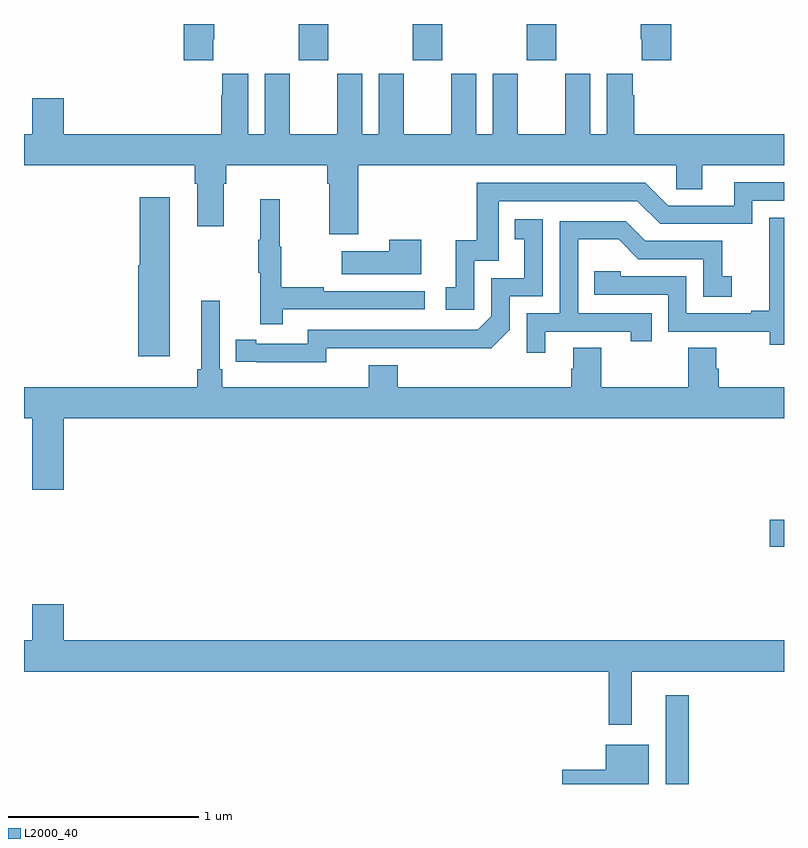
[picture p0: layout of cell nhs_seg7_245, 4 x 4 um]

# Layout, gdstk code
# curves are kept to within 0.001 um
import gdstk
lib = gdstk.Library(unit=1e-6, precision=1e-09)
def R(c, l, rs):  # rectangles x0, y0, x1, y1
    for r in rs: c.add(gdstk.rectangle(r[:2], r[2:], *l))
def A(c, l, x, y, w, h, nx, ny, dx, dy):  # array of equal rectangles
    R(c, l, [(x+i*dx, y+j*dy, x+i*dx+w, y+j*dy+h) for i in range(nx) for j in range(ny)])
def P(c, l, *ps):  # polygons
    for p in ps: c.add(gdstk.Polygon(p, *l))
L2000_40 = (2000, 40)

nhs_seg7_245 = lib.new_cell('nhs_seg7_245')
A(nhs_seg7_245, L2000_40, 130.447, 1027.809, 0.155, 0.191, 3, 1, 0.6, 0)
R(nhs_seg7_245, L2000_40, [(132.377,1024,132.499,1024.468), (132.924,1025.248,133,1025.39)])
P(nhs_seg7_245, L2000_40, [(132.407,1028),(132.247,1028),(132.247,1027.921),(132.251,1027.921),(132.251,1027.809),(132.407,1027.809)],
  [(129.997,1027.921),(130.002,1027.921),(130.002,1028),(129.842,1028),(129.842,1027.809),(129.997,1027.809)],
  [(130.76,1027.256),(132.432,1027.256),(132.432,1027.129),(132.571,1027.129),(132.571,1027.256),(133,1027.256),(133,1027.42),(132.212,1027.42),(132.212,1027.625),(132.205,1027.625),(132.205,1027.738),(132.068,1027.738),(132.068,1027.42),(131.98,1027.42),(131.98,1027.738),(131.849,1027.738),(131.849,1027.42),(131.599,1027.42),(131.599,1027.738),(131.468,1027.738),(131.468,1027.42),(131.38,1027.42),(131.38,1027.738),(131.249,1027.738),(131.249,1027.42),(130.999,1027.42),(130.999,1027.738),(130.868,1027.738),(130.868,1027.42),(130.78,1027.42),(130.78,1027.738),(130.649,1027.738),(130.649,1027.42),(130.399,1027.42),(130.399,1027.738),(130.268,1027.738),(130.268,1027.42),(130.18,1027.42),(130.18,1027.738),(130.043,1027.738),(130.043,1027.625),(130.037,1027.625),(130.037,1027.42),(129.208,1027.42),(129.208,1027.609),(129.044,1027.609),(129.044,1027.42),(129,1027.42),(129,1027.256),(129.899,1027.256),(129.899,1027.16),(129.911,1027.16),(129.911,1026.936),(130.051,1026.936),(130.051,1027.16),(130.064,1027.16),(130.064,1027.256),(130.595,1027.256),(130.595,1027.16),(130.607,1027.16),(130.607,1026.894),(130.76,1026.894)],
  [(131.37,1026.753),(131.499,1026.753),(131.499,1027.068),(132.228,1027.068),(132.348,1026.948),(132.834,1026.948),(132.834,1027.071),(133,1027.071),(133,1027.167),(132.737,1027.167),(132.737,1027.044),(132.39,1027.044),(132.27,1027.164),(131.383,1027.164),(131.383,1026.862),(131.273,1026.862),(131.273,1026.615),(131.22,1026.615),(131.22,1026.495),(131.37,1026.495)],
  [(129.766,1027.087),(129.608,1027.087),(129.608,1026.729),(129.602,1026.729),(129.602,1026.252),(129.766,1026.252)],
  [(130.361,1026.498),(131.11,1026.498),(131.11,1026.594),(130.577,1026.594),(130.577,1026.614),(130.354,1026.614),(130.354,1026.828),(130.346,1026.828),(130.346,1027.078),(130.244,1027.078),(130.244,1026.865),(130.233,1026.865),(130.233,1026.691),(130.244,1026.691),(130.244,1026.42),(130.361,1026.42)],
  [(133,1026.979),(132.922,1026.979),(132.922,1026.773),(132.923,1026.773),(132.923,1026.49),(132.827,1026.49),(132.827,1026.477),(132.486,1026.477),(132.486,1026.672),(132.141,1026.672),(132.141,1026.699),(132.001,1026.699),(132.001,1026.576),(132.39,1026.576),(132.39,1026.381),(132.924,1026.381),(132.924,1026.313),(133,1026.313)],
  [(130.59,1026.294),(131.458,1026.293),(131.556,1026.39),(131.556,1026.567),(131.73,1026.567),(131.73,1026.973),(131.584,1026.973),(131.584,1026.867),(131.633,1026.867),(131.633,1026.663),(131.46,1026.663),(131.46,1026.462),(131.388,1026.39),(130.494,1026.39),(130.494,1026.318),(130.222,1026.318),(130.222,1026.338),(130.114,1026.338),(130.114,1026.222),(130.59,1026.221)],
  [(131.743,1026.381),(132.194,1026.381),(132.194,1026.33),(132.305,1026.33),(132.305,1026.477),(131.916,1026.477),(131.916,1026.866),(132.13,1026.866),(132.234,1026.762),(132.576,1026.762),(132.576,1026.564),(132.724,1026.564),(132.724,1026.673),(132.675,1026.673),(132.675,1026.858),(132.271,1026.858),(132.166,1026.963),(131.82,1026.963),(131.82,1026.477),(131.646,1026.477),(131.646,1026.27),(131.743,1026.27)],
  [(131.092,1026.865),(130.922,1026.865),(130.922,1026.805),(130.673,1026.805),(130.673,1026.683),(131.092,1026.683)],
  [(129.208,1025.924),(133,1025.924),(133,1026.088),(132.656,1026.088),(132.656,1026.186),(132.643,1026.186),(132.643,1026.296),(132.496,1026.296),(132.496,1026.088),(132.039,1026.088),(132.039,1026.296),(131.891,1026.296),(131.891,1026.186),(131.879,1026.186),(131.879,1026.088),(130.967,1026.088),(130.967,1026.205),(130.814,1026.205),(130.814,1026.088),(130.043,1026.088),(130.043,1026.184),(130.029,1026.184),(130.029,1026.544),(129.932,1026.544),(129.932,1026.184),(129.913,1026.184),(129.913,1026.088),(129,1026.088),(129,1025.924),(129.044,1025.924),(129.044,1025.55),(129.208,1025.55)],
  [(132.199,1024.592),(133,1024.592),(133,1024.756),(129.208,1024.756),(129.208,1024.945),(129.044,1024.945),(129.044,1024.756),(129,1024.756),(129,1024.592),(132.078,1024.592),(132.078,1024.311),(132.199,1024.311)],
  [(132.289,1024.207),(132.062,1024.207),(132.062,1024.076),(131.833,1024.076),(131.833,1024),(132.289,1024)])

lib.write_gds('nhs_seg7_245.gds')
